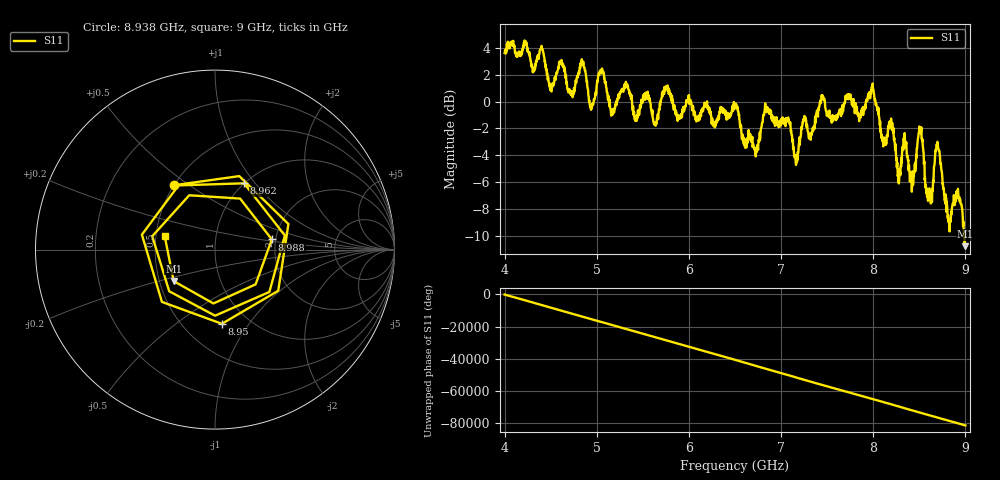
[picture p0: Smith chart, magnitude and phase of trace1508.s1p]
! Created with skrf 1.8.0 (http://scikit-rf.org).
# Hz S RI R 50.0
!freq ReS11 ImS11
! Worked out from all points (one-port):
!   1601 points, 4 GHz to 9 GHz, reference 50 ohm
!   lowest |S11| = -10.8 dB at 8.997 GHz (marker M1), VSWR 1.82, Z = 29.7 - j11.4 ohm
!   |S11| at or under -10 dB: 8.988662 GHz to end of sweep
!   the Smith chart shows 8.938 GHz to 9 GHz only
!   S11 on the Smith chart (normalised r, x): 8.938 GHz: 0.50, +0.44; 8.95 GHz: 0.76, -0.75; 8.962 GHz: 1.00, +0.88; 8.988 GHz: 1.91, +0.24; 9 GHz: 0.56, +0.09
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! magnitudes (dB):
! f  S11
! 4 GHz  3.6
! 4.625 GHz  2.7
! 4.725 GHz  0.5
! 4.85 GHz  2.7
! 4.941 GHz  -0.5
! 5.047 GHz  2.3
! 5.162 GHz  -1.0
! 5.25 GHz  0.7
! 5.875 GHz  -1.0
! 6.5 GHz  -0.2
! 6.725 GHz  -4.1
! 6.844 GHz  -0.8
! 7.125 GHz  -2.9
! 7.75 GHz  0.4
! 7.997 GHz  0.9
! 8.275 GHz  -5.6
! 8.375 GHz  -4.3
! 8.422 GHz  -5.9
! 8.509 GHz  -2.0
! 8.6 GHz  -6.6
! 8.697 GHz  -3.0
! 8.819 GHz  -8.7
! 8.938 GHz  -7.4
! 8.95 GHz  -7.6
! 8.962 GHz  -7.9
! 8.988 GHz  -9.9
! 8.997 GHz  -10.8
! 9 GHz  -10.7
